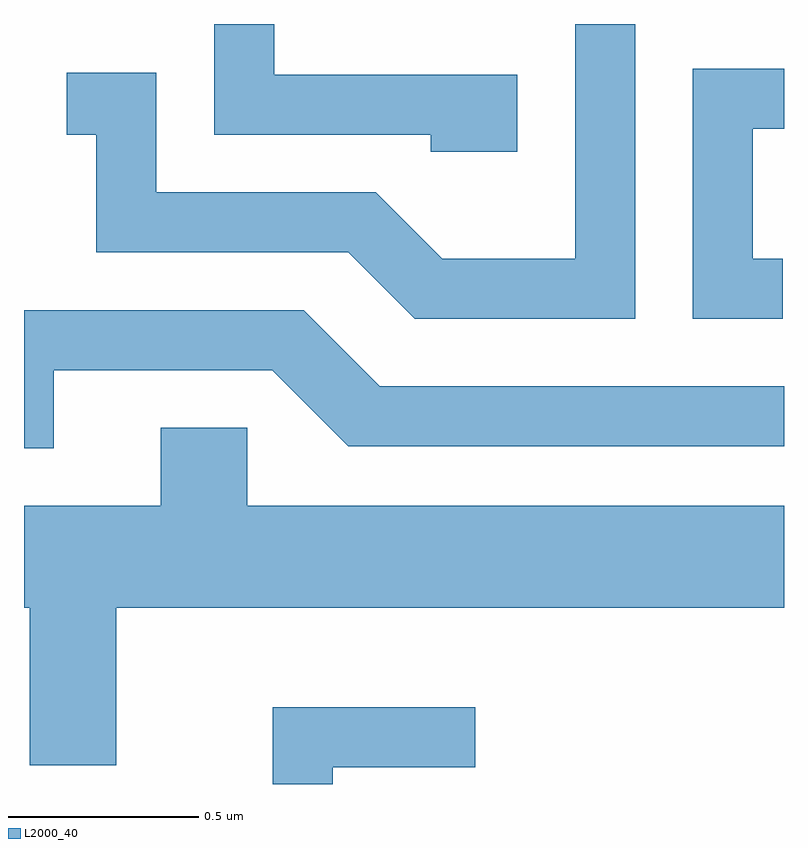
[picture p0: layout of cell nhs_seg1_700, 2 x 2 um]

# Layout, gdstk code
import gdstk
lib = gdstk.Library(unit=1e-6, precision=1e-09)
def P(c, l, *ps):  # polygons
    for p in ps: c.add(gdstk.Polygon(p, *l))
L2000_40 = (2000, 40)

nhs_seg1_700 = lib.new_cell('nhs_seg1_700')
P(nhs_seg1_700, L2000_40, [(191.909,856.579),(191.269,856.579),(191.269,856.712),(191.111,856.712),(191.111,856.421),(191.681,856.421),(191.681,856.376),(191.909,856.376)],
  [(192.219,856.712),(192.061,856.712),(192.061,856.094),(191.712,856.094),(191.537,856.269),(190.959,856.269),(190.959,856.584),(190.723,856.584),(190.723,856.421),(190.801,856.421),(190.801,856.111),(191.464,856.111),(191.639,855.936),(192.219,855.936)],
  [(192.608,856.094),(192.529,856.094),(192.529,856.436),(192.611,856.436),(192.611,856.594),(192.371,856.594),(192.371,855.936),(192.608,855.936)],
  [(190.689,855.801),(191.264,855.801),(191.464,855.601),(192.611,855.601),(192.611,855.759),(191.547,855.759),(191.347,855.959),(190.611,855.959),(190.611,855.596),(190.689,855.596)],
  [(190.854,855.176),(192.611,855.176),(192.611,855.444),(191.199,855.444),(191.199,855.649),(190.971,855.649),(190.971,855.444),(190.611,855.444),(190.611,855.176),(190.626,855.176),(190.626,854.761),(190.854,854.761)],
  [(191.424,854.756),(191.798,854.756),(191.798,854.914),(191.266,854.914),(191.266,854.712),(191.424,854.712)])

lib.write_gds('nhs_seg1_700.gds')
